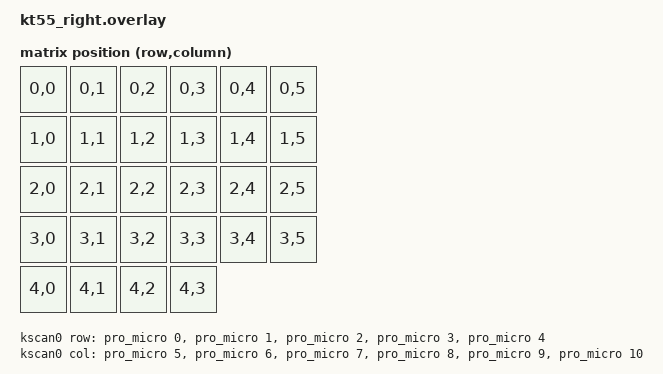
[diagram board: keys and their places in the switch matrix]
/*
 * KT55 Right half
 * - 6 columns x 5 rows (matrix), bottom row uses columns 0-3 (4 keys)
 * - diode direction: col2row
 * - no encoders on this half
 *
 * NOTE: GPIO pin numbers below are PLACEHOLDERS (Arduino Pro Micro pin
 * numbering as used by nice_nano_v2, 0-21). Edit row-gpios / col-gpios
 * to match your actual wiring before flashing.
 *
 * Pin map used here (EDIT AS NEEDED):
 *   ROW0-4 : D0, D1, D2, D3, D4
 *   COL0-5 : D5, D6, D7, D8, D9, D10
 */

#include <dt-bindings/zmk/matrix_transform.h>
#include "kt55_right-layouts.dtsi"

/ {
    chosen {
        zmk,kscan = &kscan0;
        zmk,matrix-transform = &default_transform;
        zmk,physical-layout = &physical_layout0;
    };

    kscan0: kscan0 {
        compatible = "zmk,kscan-gpio-matrix";
        wakeup-source;
        diode-direction = "col2row";

        row-gpios
            = <&pro_micro 0 GPIO_ACTIVE_HIGH>
            , <&pro_micro 1 GPIO_ACTIVE_HIGH>
            , <&pro_micro 2 GPIO_ACTIVE_HIGH>
            , <&pro_micro 3 GPIO_ACTIVE_HIGH>
            , <&pro_micro 4 GPIO_ACTIVE_HIGH>
            ;

        col-gpios
            = <&pro_micro 5 GPIO_ACTIVE_HIGH>
            , <&pro_micro 6 GPIO_ACTIVE_HIGH>
            , <&pro_micro 7 GPIO_ACTIVE_HIGH>
            , <&pro_micro 8 GPIO_ACTIVE_HIGH>
            , <&pro_micro 9 GPIO_ACTIVE_HIGH>
            , <&pro_micro 10 GPIO_ACTIVE_HIGH>
            ;
    };

    // Logical matrix is 6 columns x 5 rows. Bottom row (row 4) only has
    // 4 physical keys wired (col0-3); col4 and col5 of row4 are unused.
    default_transform: keymap_transform_0 {
        compatible = "zmk,matrix-transform";
        columns = <6>;
        rows = <5>;
        map = <
            RC(0,0) RC(0,1) RC(0,2) RC(0,3) RC(0,4) RC(0,5)
            RC(1,0) RC(1,1) RC(1,2) RC(1,3) RC(1,4) RC(1,5)
            RC(2,0) RC(2,1) RC(2,2) RC(2,3) RC(2,4) RC(2,5)
            RC(3,0) RC(3,1) RC(3,2) RC(3,3) RC(3,4) RC(3,5)
            RC(4,0) RC(4,1) RC(4,2) RC(4,3)
        >;
    };
};
